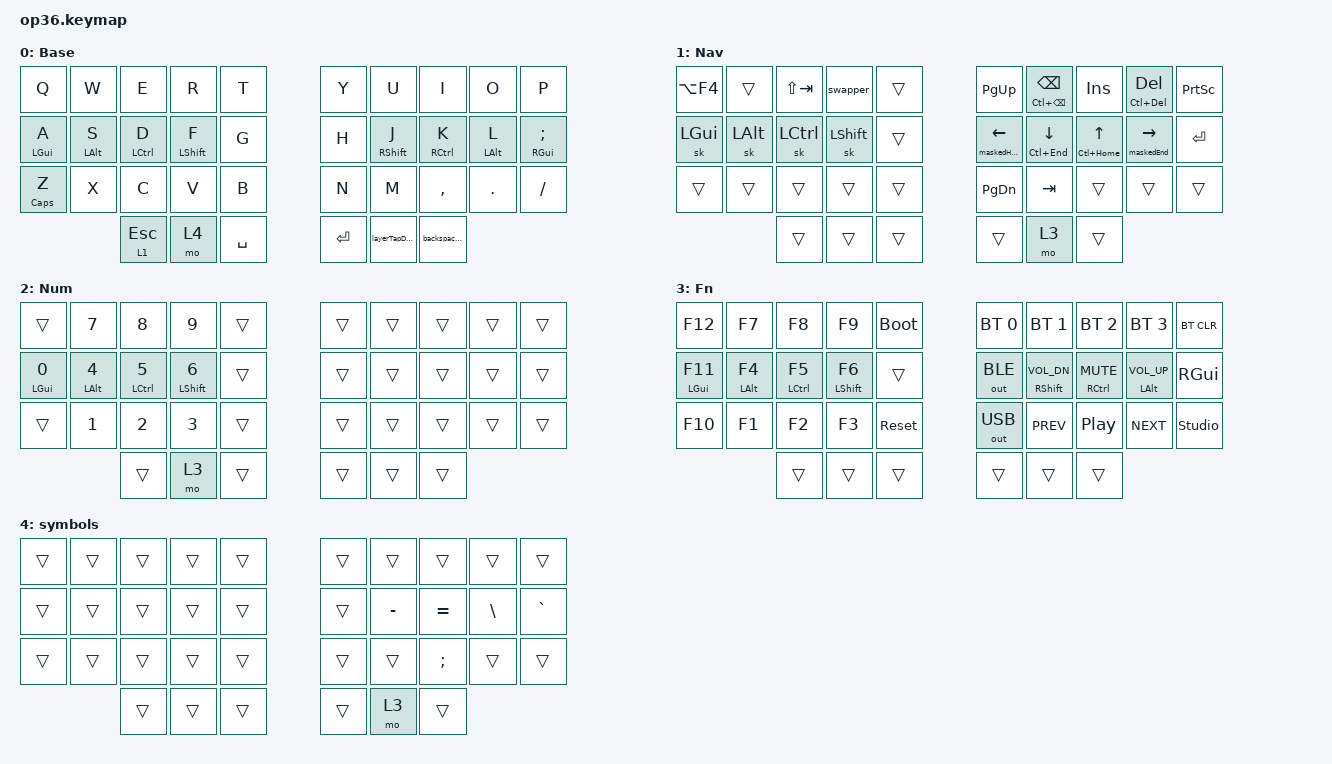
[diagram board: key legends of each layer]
#include "keys_ru.h"
#include <behaviors.dtsi>
#include <dt-bindings/zmk/bt.h>
#include <dt-bindings/zmk/keys.h>
#include <dt-bindings/zmk/outputs.h>

&mt {
    flavor = "tap-preferred";
    tapping-term-ms = <220>;
    quick-tap-ms = <220>;
    hold-trigger-key-positions = <0>;
};

&sk { release-after-ms = <900>; };

&lt {
    flavor = "balanced";
    tapping-term-ms = <200>;
    quick-tap-ms = <175>;
};

/ {
    behaviors {
        hml: home_row_mod_left {
            compatible = "zmk,behavior-hold-tap";
            #binding-cells = <2>;
            flavor = "balanced";
            require-prior-idle-ms = <150>;
            tapping-term-ms = <280>;
            quick-tap-ms = <175>;
            bindings = <&kp>, <&kp>;

            hold-trigger-key-positions = <5 6 7 8 9 15 16 17 18 19 25 26 27 28 29 30 31 32 33 34 35>;
            hold-trigger-on-release;
        };

        hmr: home_row_mod_right {
            compatible = "zmk,behavior-hold-tap";
            #binding-cells = <2>;
            flavor = "balanced";
            require-prior-idle-ms = <150>;
            tapping-term-ms = <280>;
            quick-tap-ms = <175>;
            bindings = <&kp>, <&kp>;

            hold-trigger-key-positions = <0 1 2 3 4 10 11 12 13 14 20 21 22 23 24 30 31 32 33 34 35>;
            hold-trigger-on-release;
        };

        backspaceToDelete: backspaceToDelete {
            compatible = "zmk,behavior-mod-morph";
            label = "BACKSPACETODELETE";
            bindings = <&kp BACKSPACE>, <&kp DELETE>;

            #binding-cells = <0>;
            mods = <(MOD_LSFT|MOD_RSFT)>;
        };

        maskedHome: maskedHome {
            compatible = "zmk,behavior-mod-morph";
            #binding-cells = <0>;
            bindings = <&kp HOME>, <&kp HOME>;

            mods = <(MOD_LCTL|MOD_RCTL)>;
        };

        maskedEnd: maskedEnd {
            compatible = "zmk,behavior-mod-morph";
            #binding-cells = <0>;
            bindings = <&kp END>, <&kp END>;

            mods = <(MOD_LCTL|MOD_RCTL)>;
        };

        mtHome: mtHome {
            compatible = "zmk,behavior-hold-tap";
            #binding-cells = <2>;
            flavor = "tap-preferred";
            tapping-term-ms = <220>;
            quick-tap-ms = <220>;
            bindings = <&maskedHome>, <&kp>;

            hold-trigger-key-positions = <0>;
        };

        mtEnd: mtEnd {
            compatible = "zmk,behavior-hold-tap";
            #binding-cells = <2>;
            flavor = "tap-preferred";
            tapping-term-ms = <220>;
            quick-tap-ms = <220>;
            bindings = <&maskedEnd>, <&kp>;

            hold-trigger-key-positions = <0>;
        };

        langZ: langZ {
            compatible = "zmk,behavior-hold-tap";
            #binding-cells = <2>;
            flavor = "tap-preferred";
            tapping-term-ms = <160>;
            quick-tap-ms = <220>;
            require-prior-idle-ms = <125>;
            bindings = <&kp>, <&kp>;
        };

        swapper: swapper {
            compatible = "zmk,behavior-tri-state";
            #binding-cells = <0>;
            bindings = <&kt LALT>, <&kp TAB>, <&kt LALT>;

            ignored-key-positions = <2 15 16 17 18>;
            ignored-layers = <1>;
        };

        layerTapDance: layerTapDance {
            compatible = "zmk,behavior-tap-dance";
            label = "LAYERTAPDANCE";
            #binding-cells = <0>;
            bindings = <&mo 2>, <&mo 3>;

            tapping-term-ms = <280>;
        };
    };

    combos {
        compatible = "zmk,combos";

        kha {
            bindings = <&kp LBKT>;
            key-positions = <16 17>;
            timeout-ms = <18>;
            require-prior-idle-ms = <150>;
        };

        hrdsgn {
            bindings = <&kp RBKT>;
            key-positions = <17 18>;
            timeout-ms = <18>;
            require-prior-idle-ms = <150>;
        };

        caps {
            bindings = <&kp CAPSLOCK>;
            key-positions = <20 21>;
            timeout-ms = <40>;
        };

        tab {
            bindings = <&kp TAB>;
            key-positions = <0 1>;
            timeout-ms = <18>;
            require-prior-idle-ms = <150>;
        };

        leftParantesis {
            bindings = <&kp LPAR>;
            key-positions = <6 7>;
            timeout-ms = <18>;
            require-prior-idle-ms = <150>;
        };

        rightParantesis {
            bindings = <&kp RIGHT_PARENTHESIS>;
            key-positions = <7 8>;
            timeout-ms = <18>;
            require-prior-idle-ms = <150>;
        };

        Comma {
            bindings = <&kp COMMA>;
            key-positions = <26 27>;
            timeout-ms = <18>;
            require-prior-idle-ms = <150>;
        };

        periodDot {
            bindings = <&kp PERIOD>;
            key-positions = <27 28>;
            timeout-ms = <18>;
            require-prior-idle-ms = <150>;
        };

        plus {
            bindings = <&kp PLUS>;
            key-positions = <16 6>;
            timeout-ms = <30>;
            require-prior-idle-ms = <50>;
        };

        minus {
            bindings = <&kp MINUS>;
            key-positions = <16 26>;
            timeout-ms = <30>;
            require-prior-idle-ms = <50>;
        };

        hash {
            bindings = <&kp POUND>;
            key-positions = <12 2>;
            timeout-ms = <30>;
            require-prior-idle-ms = <50>;
        };

        dollar {
            bindings = <&kp DOLLAR>;
            key-positions = <13 3>;
            timeout-ms = <30>;
            require-prior-idle-ms = <50>;
        };

        atSign {
            bindings = <&kp AT_SIGN>;
            key-positions = <11 1>;
            timeout-ms = <30>;
            require-prior-idle-ms = <50>;
        };

        grave {
            bindings = <&kp GRAVE>;
            key-positions = <21 11>;
            timeout-ms = <30>;
            require-prior-idle-ms = <50>;
        };

        percantage {
            bindings = <&kp PERCENT>;
            key-positions = <4 14>;
            timeout-ms = <30>;
            require-prior-idle-ms = <50>;
        };

        tilda {
            bindings = <&kp TILDE>;
            key-positions = <14 24>;
            timeout-ms = <30>;
            require-prior-idle-ms = <50>;
        };

        backSlash {
            bindings = <&kp BACKSLASH>;
            key-positions = <22 12>;
            timeout-ms = <30>;
            require-prior-idle-ms = <50>;
        };

        equal {
            bindings = <&kp EQUAL>;
            key-positions = <23 13>;
            timeout-ms = <30>;
            require-prior-idle-ms = <50>;
        };

        star {
            bindings = <&kp ASTRK>;
            key-positions = <17 7>;
            timeout-ms = <30>;
            require-prior-idle-ms = <50>;
        };

        ampersand {
            bindings = <&kp AMPERSAND>;
            key-positions = <18 8>;
            timeout-ms = <30>;
            require-prior-idle-ms = <50>;
        };

        slash {
            bindings = <&kp FSLH>;
            key-positions = <27 17>;
            timeout-ms = <30>;
            require-prior-idle-ms = <50>;
        };

        pipe {
            bindings = <&kp PIPE>;
            key-positions = <28 18>;
            timeout-ms = <30>;
            require-prior-idle-ms = <50>;
        };

        caret {
            bindings = <&kp CARET>;
            key-positions = <15 5>;
            timeout-ms = <30>;
            require-prior-idle-ms = <50>;
        };

        underscore {
            bindings = <&kp UNDERSCORE>;
            key-positions = <15 25>;
            timeout-ms = <30>;
            require-prior-idle-ms = <50>;
        };

        apostrophe {
            bindings = <&kp SQT>;
            key-positions = <18 19>;
            timeout-ms = <18>;
            require-prior-idle-ms = <150>;
        };
    };

    keymap {
        compatible = "zmk,keymap";

        base {
            bindings = <
  &kp Q          &kp W        &kp E         &kp R              &kp T                          &kp Y           &kp U               &kp I                 &kp O        &kp P
  &hml LGUI A    &hml LALT S  &hml LCTRL D  &hml LEFT_SHIFT F  &kp G                          &kp H           &hmr RIGHT_SHIFT J  &hmr RIGHT_CONTROL K  &hmr LALT L  &hmr RGUI SEMICOLON
  &langZ CAPS Z  &kp X        &kp C         &kp V              &kp B                          &kp N           &kp M               &kp COMMA             &kp DOT      &kp SLASH
                                            &lt 1 ESC          &mo 4  &kp SPACE    &kp ENTER  &layerTapDance  &backspaceToDelete
            >;

            display-name = "Base";
        };

        nav {
            bindings = <
  &kp LA(F4)  &trans    &kp LS(TAB)  &swapper   &trans                    &kp PG_UP             &mt LC(BSPC) BSPC       &kp INS          &mt LC(DEL) DEL  &kp PSCRN
  &sk LGUI    &sk LALT  &sk LCTRL    &sk LSHFT  &trans                    &mtHome 0 LEFT_ARROW  &mt LC(END) DOWN_ARROW  &mt LC(HOME) UP  &mtEnd 0 RIGHT   &kp ENTER
  &trans      &trans    &trans       &trans     &trans                    &kp PG_DN             &kp TAB                 &trans           &trans           &trans
                                     &trans     &trans  &trans    &trans  &mo 3                 &trans
            >;

            display-name = "Nav";
        };

        num {
            bindings = <
  &trans        &kp N7        &kp N8         &kp N9         &trans                    &trans  &trans  &trans  &trans  &trans
  &hml LGUI N0  &hml LALT N4  &hml LCTRL N5  &hml LSHFT N6  &trans                    &trans  &trans  &trans  &trans  &trans
  &trans        &kp N1        &kp N2         &kp N3         &trans                    &trans  &trans  &trans  &trans  &trans
                                             &trans         &mo 3   &trans    &trans  &trans  &trans
            >;

            display-name = "Num";
        };

        fn {
            bindings = <
  &kp F12        &kp F7        &kp F8         &kp F9         &bootloader                    &bt BT_SEL 0  &bt BT_SEL 1         &bt BT_SEL 2       &bt BT_SEL 3        &bt BT_CLR
  &hml LGUI F11  &hml LALT F4  &hml LCTRL F5  &hml LSHFT F6  &trans                         &out OUT_BLE  &hmr RSHFT C_VOL_DN  &hmr RCTRL C_MUTE  &hmr LALT C_VOL_UP  &kp RGUI
  &kp F10        &kp F1        &kp F2         &kp F3         &sys_reset                     &out OUT_USB  &kp C_PREV           &kp C_PP           &kp C_NEXT          &studio_unlock
                                              &trans         &trans       &trans    &trans  &trans        &trans
            >;

            display-name = "Fn";
        };

        symbols {
            bindings = <
  &trans  &trans  &trans  &trans  &trans                    &trans  &trans     &trans     &trans    &trans
  &trans  &trans  &trans  &trans  &trans                    &trans  &kp MINUS  &kp EQUAL  &kp BSLH  &kp GRAVE
  &trans  &trans  &trans  &trans  &trans                    &trans  &trans     &kp SEMI   &trans    &trans
                          &trans  &trans  &trans    &trans  &mo 3   &trans
            >;
        };
    };
};
